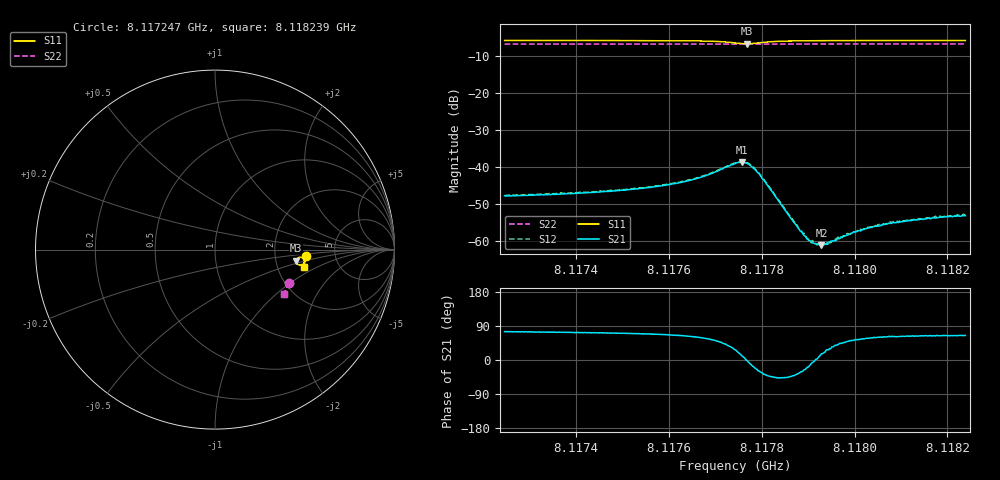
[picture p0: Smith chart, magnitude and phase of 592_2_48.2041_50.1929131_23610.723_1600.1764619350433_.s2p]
#  HZ  S  RI  R  50.00
! Rohde & Schwarz Vector Network Analyzer
! Rohde-Schwarz,ZNB20-2Port,1311601062101988,3.16
! Created: UTC 3/20/2024, 12:02:38 PM
! freq[Hz]  re:S11  im:S11  re:S21  im:S21  re:S12  im:S12  re:S22  im:S22
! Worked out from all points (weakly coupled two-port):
!   401 points, 8.117247 GHz to 8.118239 GHz, reference 50 ohm
!   highest |S21| = -38.74 dB at 8.117758 GHz (marker M1); lowest = -61.1 dB at 8.117929 GHz (marker M2)
!   lowest |S11| = -6.8 dB at 8.117768 GHz (marker M3), VSWR 2.68, Z = 130 - j20.4 ohm
!   |S11| at or under -10 dB: nowhere
!   |S22| runs from -6.9 to -6.8 dB; largest |S21 - S12| = 0.00043
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8.1172468e9  0.5053 -0.0343  0.00107 0.00395  0.00111 0.00397  0.4129 -0.1848
8.1174129e9  0.5037 -0.0487  0.00134 0.00425  0.0014 0.00434  0.4082 -0.1955
8.1174873e9  0.5024 -0.0557  0.00158 0.00454  0.00164 0.00457  0.4061 -0.2005
8.1175791e9  0.4997 -0.0654  0.00211 0.00512  0.0022 0.00518  0.4034 -0.2063
8.1176584e9  0.494 -0.0765  0.00343 0.00607  0.00347 0.00616  0.4006 -0.2116
8.1177427e9  0.4626 -0.0829  0.00988 0.00502  0.0101 0.00521  0.3968 -0.2164
8.1177576e9  0.454 -0.0725  0.0113 0.00231  0.0117 0.00237  0.3962 -0.2166
8.1177675e9  0.4525 -0.0621  0.0113 -0.000122  0.0115 -2.44e-05  0.3958 -0.2169
8.1177774e9  0.4561 -0.0522  0.01 -0.00219  0.0103 -0.00237  0.3957 -0.217
8.1177923e9  0.4673 -0.0437  0.00731 -0.00397  0.00761 -0.00405  0.3961 -0.2176
8.1178841e9  0.4973 -0.0603  0.00115 -0.000707  0.00118 -0.000762  0.3944 -0.2243
8.1179014e9  0.4982 -0.0635  0.00098 -0.000306  0.00102 -0.000328  0.3938 -0.2254
8.1179089e9  0.4983 -0.0646  0.00094 -0.000115  0.00101 -0.000147  0.3935 -0.2259
8.1179188e9  0.4988 -0.0662  0.000917 3.63e-05  0.000886 6.1e-05  0.3932 -0.2265
8.1179287e9  0.4989 -0.0677  0.000843 0.00025  0.000864 0.000212  0.3929 -0.2271
8.1179436e9  0.4991 -0.0699  0.000822 0.00042  0.000803 0.000463  0.3924 -0.2283
8.1179659e9  0.4991 -0.0727  0.000807 0.000722  0.00083 0.000763  0.3917 -0.2297
8.1180031e9  0.4989 -0.077  0.000787 0.00109  0.000799 0.00109  0.3904 -0.232
8.1180304e9  0.4988 -0.0798  0.00082 0.00128  0.000832 0.0013  0.3895 -0.2338
8.118075e9  0.4983 -0.0843  0.000801 0.00155  0.000886 0.00157  0.3881 -0.2366
8.1181544e9  0.4973 -0.0915  0.000873 0.00181  0.000894 0.00183  0.3853 -0.2415
8.1182387e9  0.496 -0.0985  0.000942 0.002  0.00104 0.00201  0.3823 -0.2466
